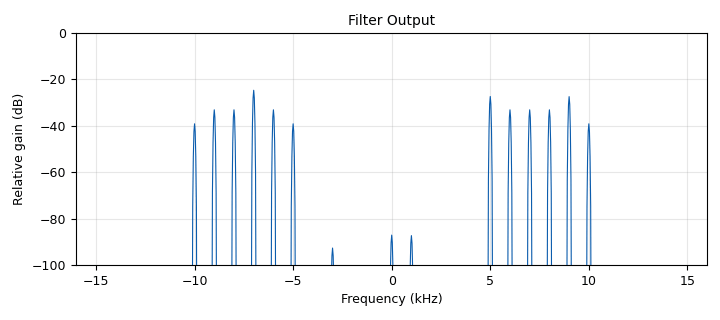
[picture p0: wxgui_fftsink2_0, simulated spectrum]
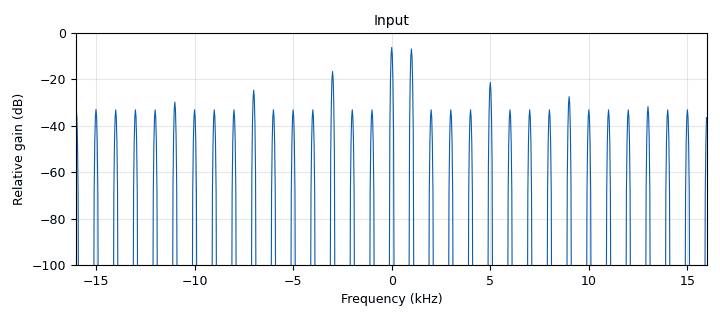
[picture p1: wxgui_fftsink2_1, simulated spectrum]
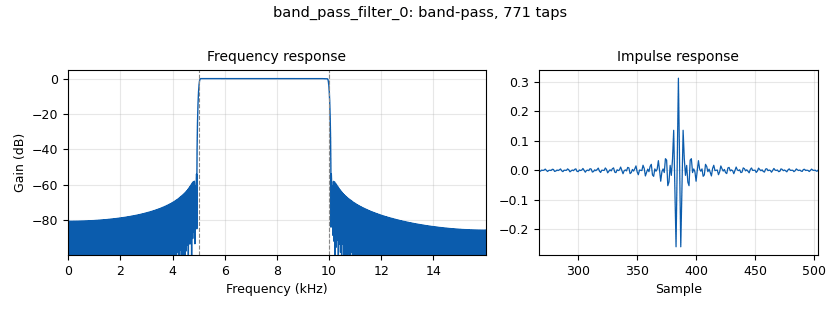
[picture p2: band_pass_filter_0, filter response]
<?xml version='1.0' encoding='utf-8'?>
<?grc format='1' created='3.7.11'?>
<flow_graph>
<block>
<key>options</key>
<param><key>id</key><value>top_block</value></param>
<param><key>generate_options</key><value>wx_gui</value></param>
</block>
<block>
<key>variable_text_box</key>
<param><key>id</key><value>high_cutoff</value></param>
<param><key>converver</key><value>float_converter</value></param>
<param><key>value</key><value>10e3</value></param>
<param><key>formatter</key><value>None</value></param>
<param><key>label</key><value></value></param>
</block>
<block>
<key>variable_text_box</key>
<param><key>id</key><value>low_cutoff</value></param>
<param><key>converver</key><value>float_converter</value></param>
<param><key>value</key><value>5e3</value></param>
<param><key>formatter</key><value>None</value></param>
<param><key>label</key><value></value></param>
</block>
<block>
<key>variable</key>
<param><key>id</key><value>samp_rate</value></param>
<param><key>value</key><value>32000</value></param>
</block>
<block>
<key>analog_sig_source_x</key>
<param><key>id</key><value>analog_sig_source_x_0</value></param>
<param><key>amp</key><value>1</value></param>
<param><key>freq</key><value>1000</value></param>
<param><key>offset</key><value>0</value></param>
<param><key>type</key><value>complex</value></param>
<param><key>samp_rate</key><value>samp_rate</value></param>
<param><key>waveform</key><value>analog.GR_SQR_WAVE</value></param>
</block>
<block>
<key>band_pass_filter</key>
<param><key>id</key><value>band_pass_filter_0</value></param>
<param><key>decim</key><value>1</value></param>
<param><key>type</key><value>fir_filter_ccf</value></param>
<param><key>gain</key><value>1</value></param>
<param><key>high_cutoff_freq</key><value>high_cutoff</value></param>
<param><key>low_cutoff_freq</key><value>low_cutoff</value></param>
<param><key>samp_rate</key><value>samp_rate</value></param>
<param><key>width</key><value>100</value></param>
<param><key>win</key><value>firdes.WIN_HAMMING</value></param>
</block>
<block>
<key>blocks_throttle</key>
<param><key>id</key><value>blocks_throttle_0</value></param>
<param><key>samples_per_second</key><value>samp_rate</value></param>
<param><key>type</key><value>complex</value></param>
</block>
<block>
<key>high_pass_filter</key>
<param><key>id</key><value>high_pass_filter_0</value></param>
<param><key>cutoff_freq</key><value>2e3</value></param>
<param><key>decim</key><value>1</value></param>
<param><key>_enabled</key><value>0</value></param>
<param><key>type</key><value>fir_filter_ccf</value></param>
<param><key>gain</key><value>1</value></param>
<param><key>samp_rate</key><value>samp_rate</value></param>
<param><key>width</key><value>100</value></param>
<param><key>win</key><value>firdes.WIN_HAMMING</value></param>
</block>
<block>
<key>low_pass_filter</key>
<param><key>id</key><value>low_pass_filter_0</value></param>
<param><key>cutoff_freq</key><value>2e3</value></param>
<param><key>decim</key><value>1</value></param>
<param><key>_enabled</key><value>0</value></param>
<param><key>type</key><value>fir_filter_ccf</value></param>
<param><key>gain</key><value>1</value></param>
<param><key>samp_rate</key><value>samp_rate</value></param>
<param><key>width</key><value>100</value></param>
<param><key>win</key><value>firdes.WIN_HAMMING</value></param>
</block>
<block>
<key>wxgui_fftsink2</key>
<param><key>id</key><value>wxgui_fftsink2_0</value></param>
<param><key>avg_alpha</key><value>0</value></param>
<param><key>average</key><value>False</value></param>
<param><key>baseband_freq</key><value>0</value></param>
<param><key>fft_size</key><value>1024</value></param>
<param><key>freqvar</key><value>None</value></param>
<param><key>peak_hold</key><value>False</value></param>
<param><key>ref_level</key><value>0</value></param>
<param><key>ref_scale</key><value>2.0</value></param>
<param><key>fft_rate</key><value>15</value></param>
<param><key>samp_rate</key><value>samp_rate</value></param>
<param><key>title</key><value>Filter Output</value></param>
<param><key>type</key><value>complex</value></param>
<param><key>win</key><value>None</value></param>
<param><key>y_divs</key><value>10</value></param>
<param><key>y_per_div</key><value>10</value></param>
</block>
<block>
<key>wxgui_fftsink2</key>
<param><key>id</key><value>wxgui_fftsink2_1</value></param>
<param><key>avg_alpha</key><value>0</value></param>
<param><key>average</key><value>False</value></param>
<param><key>baseband_freq</key><value>0</value></param>
<param><key>fft_size</key><value>1024</value></param>
<param><key>freqvar</key><value>None</value></param>
<param><key>peak_hold</key><value>False</value></param>
<param><key>ref_level</key><value>0</value></param>
<param><key>ref_scale</key><value>2.0</value></param>
<param><key>fft_rate</key><value>15</value></param>
<param><key>samp_rate</key><value>samp_rate</value></param>
<param><key>title</key><value>Input</value></param>
<param><key>type</key><value>complex</value></param>
<param><key>win</key><value>None</value></param>
<param><key>y_divs</key><value>10</value></param>
<param><key>y_per_div</key><value>10</value></param>
</block>
<connection><source_block_id>analog_sig_source_x_0</source_block_id><sink_block_id>blocks_throttle_0</sink_block_id><source_key>0</source_key><sink_key>0</sink_key></connection>
<connection><source_block_id>band_pass_filter_0</source_block_id><sink_block_id>wxgui_fftsink2_0</sink_block_id><source_key>0</source_key><sink_key>0</sink_key></connection>
<connection><source_block_id>blocks_throttle_0</source_block_id><sink_block_id>band_pass_filter_0</sink_block_id><source_key>0</source_key><sink_key>0</sink_key></connection>
<connection><source_block_id>blocks_throttle_0</source_block_id><sink_block_id>high_pass_filter_0</sink_block_id><source_key>0</source_key><sink_key>0</sink_key></connection>
<connection><source_block_id>blocks_throttle_0</source_block_id><sink_block_id>low_pass_filter_0</sink_block_id><source_key>0</source_key><sink_key>0</sink_key></connection>
<connection><source_block_id>blocks_throttle_0</source_block_id><sink_block_id>wxgui_fftsink2_1</sink_block_id><source_key>0</source_key><sink_key>0</sink_key></connection>
<connection><source_block_id>high_pass_filter_0</source_block_id><sink_block_id>wxgui_fftsink2_0</sink_block_id><source_key>0</source_key><sink_key>0</sink_key></connection>
<connection><source_block_id>low_pass_filter_0</source_block_id><sink_block_id>wxgui_fftsink2_0</sink_block_id><source_key>0</source_key><sink_key>0</sink_key></connection>
</flow_graph>
